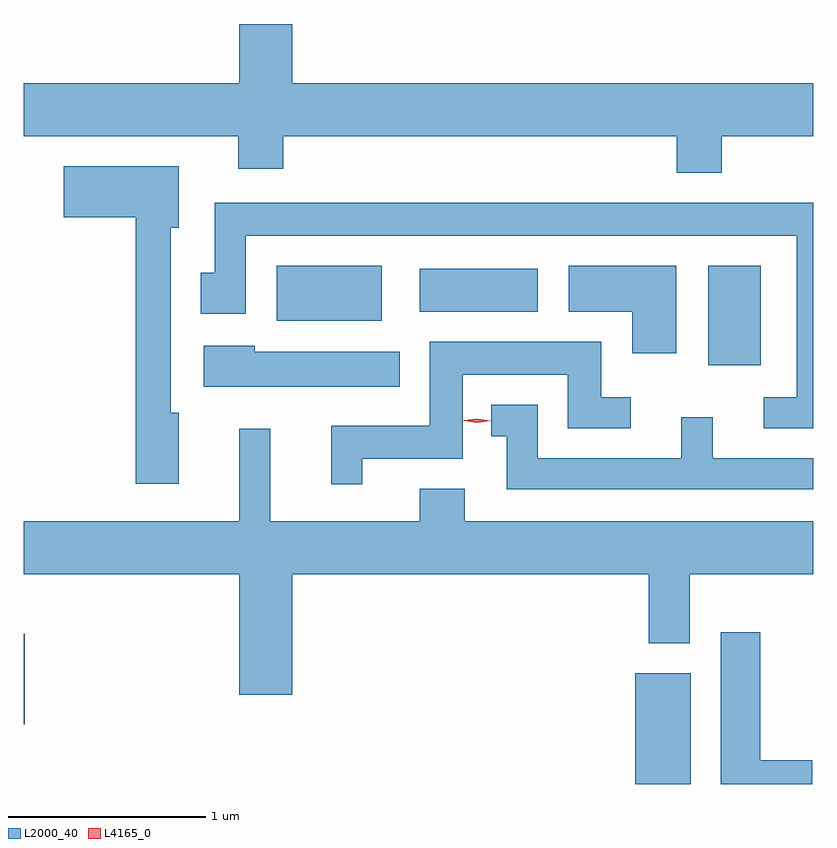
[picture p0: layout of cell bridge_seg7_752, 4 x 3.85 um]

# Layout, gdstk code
import gdstk
lib = gdstk.Library(unit=1e-6, precision=1e-09)
def R(c, l, rs):  # rectangles x0, y0, x1, y1
    for r in rs: c.add(gdstk.rectangle(r[:2], r[2:], *l))
def P(c, l, *ps):  # polygons
    for p in ps: c.add(gdstk.Polygon(p, *l))
L2000_40 = (2000, 40)
L4165_0 = (4165, 0)

bridge_seg7_752 = lib.new_cell('bridge_seg7_752')
R(bridge_seg7_752, L2000_40, [(416.881,1744.334,417.164,1744.894), (413.784,1744.636,413.789,1745.094), (417.251,1746.456,417.519,1746.959), (415.066,1746.681,415.599,1746.959), (415.791,1746.726,416.389,1746.944)])
P(bridge_seg7_752, L2000_40, [(417.319,1747.616),(417.784,1747.616),(417.784,1747.884),(415.144,1747.884),(415.144,1748.184),(414.876,1748.184),(414.876,1747.884),(413.784,1747.884),(413.784,1747.616),(414.871,1747.616),(414.871,1747.451),(415.099,1747.451),(415.099,1747.616),(417.091,1747.616),(417.091,1747.431),(417.319,1747.431)],
  [(414.569,1746.214),(414.529,1746.214),(414.529,1747.151),(414.569,1747.151),(414.569,1747.464),(413.986,1747.464),(413.986,1747.206),(414.351,1747.206),(414.351,1745.856),(414.569,1745.856)],
  [(417.784,1747.279),(414.751,1747.279),(414.751,1746.924),(414.681,1746.924),(414.681,1746.716),(414.909,1746.716),(414.909,1747.111),(417.701,1747.111),(417.701,1746.294),(417.533,1746.294),(417.533,1746.136),(417.784,1746.136)],
  [(417.089,1746.959),(416.546,1746.959),(416.546,1746.726),(416.866,1746.726),(416.866,1746.516),(417.089,1746.516)],
  [(415.499,1745.981),(416.009,1745.981),(416.009,1746.406),(416.541,1746.406),(416.541,1746.136),(416.858,1746.136),(416.858,1746.294),(416.709,1746.294),(416.709,1746.574),(415.841,1746.574),(415.841,1746.149),(415.341,1746.149),(415.341,1745.853),(415.499,1745.853)],
  [(415.689,1746.524),(414.954,1746.524),(414.954,1746.554),(414.696,1746.554),(414.696,1746.346),(415.689,1746.346)],
  [(417.784,1745.984),(417.274,1745.984),(417.274,1746.193),(417.116,1746.193),(417.116,1745.984),(416.389,1745.984),(416.389,1746.254),(416.153,1746.254),(416.153,1746.096),(416.231,1746.096),(416.231,1745.826),(417.784,1745.826)],
  [(415.144,1745.396),(416.951,1745.396),(416.951,1745.046),(417.159,1745.046),(417.159,1745.396),(417.784,1745.396),(417.784,1745.664),(416.019,1745.664),(416.019,1745.829),(415.791,1745.829),(415.791,1745.664),(415.034,1745.664),(415.034,1746.133),(414.876,1746.133),(414.876,1745.664),(413.784,1745.664),(413.784,1745.396),(414.876,1745.396),(414.876,1744.786),(415.144,1744.786)],
  [(417.779,1744.454),(417.514,1744.454),(417.514,1745.104),(417.316,1745.104),(417.316,1744.334),(417.779,1744.334)])
P(bridge_seg7_752, L4165_0, [(416.081,1746.165),(416.012,1746.175),(416.012,1746.175),(416.012,1746.176),(416.081,1746.185),(416.151,1746.175),(416.151,1746.175),(416.151,1746.174)])

lib.write_gds('bridge_seg7_752.gds')
